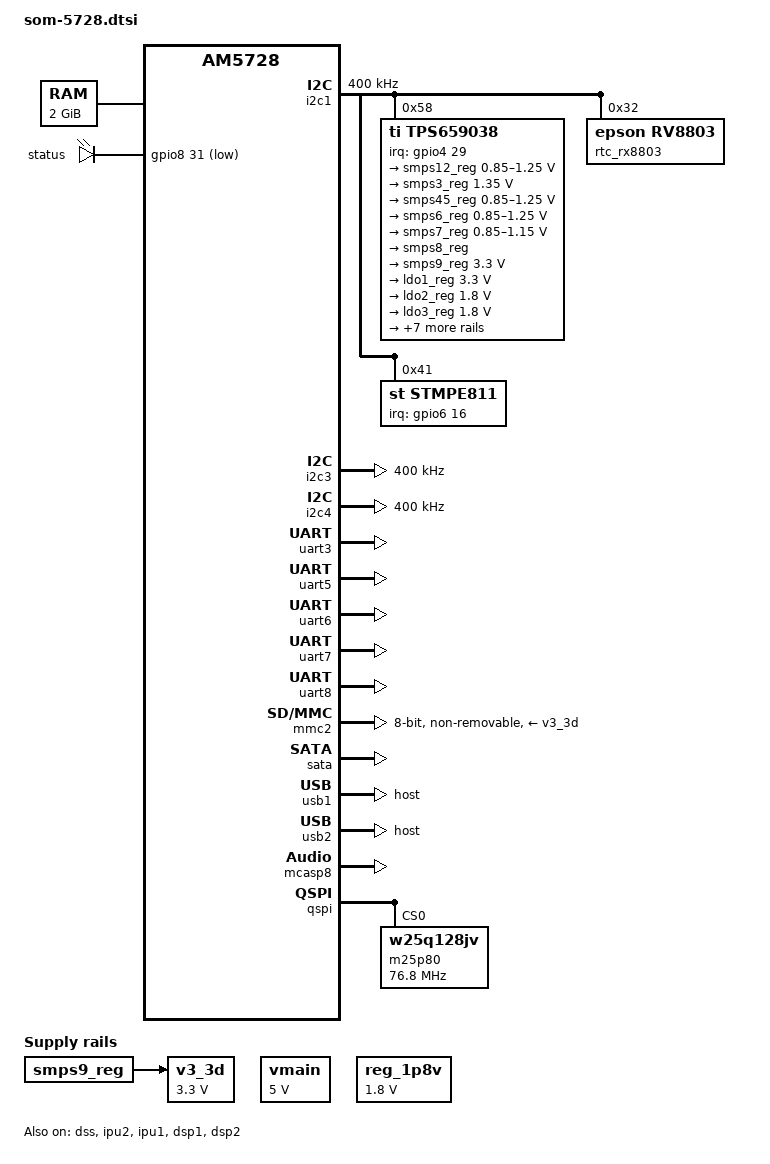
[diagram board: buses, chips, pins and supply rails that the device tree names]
/*
 * Copyright (C) 2014-2016 Texas Instruments Incorporated - http://www.ti.com/
 *
 * This program is free software; you can redistribute it and/or modify
 * it under the terms of the GNU General Public License version 2 as
 * published by the Free Software Foundation.
 */
/dts-v1/;

#include "dra74x.dtsi"
#include "am57xx-commercial-grade.dtsi"
#include "am57-pruss.dtsi"
#include "dra74x-mmc-iodelay.dtsi"
#include <dt-bindings/gpio/gpio.h>
#include <dt-bindings/interrupt-controller/irq.h>

/ {
	compatible = "emac,som5728", "ti,am5728", "ti,dra7";

	aliases {
		rtc0 = &rtc_rx8803;
		rtc1 = &tps659038_rtc;
		rtc2 = &rtc;
        spi0 = &qspi;
        spi1 = &mcspi1;
        spi2 = &mcspi2;
        spi3 = &mcspi3;
        spi4 = &mcspi4;
	};

	chosen {
		stdout-path = &uart3;
	};

	memory@0 {
		device_type = "memory";
		reg = <0x0 0x80000000 0x0 0x80000000>;
	};
	
	reserved-memory {
		#address-cells = <2>;
		#size-cells = <2>;
		ranges;

		ipu2_memory_region: ipu2-memory@95800000 {
			compatible = "shared-dma-pool";
			reg = <0x0 0x95800000 0x0 0x3800000>;
			reusable;
			status = "okay";
		};

		dsp1_memory_region: dsp1-memory@99000000 {
			compatible = "shared-dma-pool";
			reg = <0x0 0x99000000 0x0 0x4000000>;
			reusable;
			status = "okay";
		};

		ipu1_memory_region: ipu1-memory@9d000000 {
			compatible = "shared-dma-pool";
			reg = <0x0 0x9d000000 0x0 0x2000000>;
			reusable;
			status = "okay";
		};

		dsp2_memory_region: dsp2-memory@9f000000 {
			compatible = "shared-dma-pool";
			reg = <0x0 0x9f000000 0x0 0x800000>;
			reusable;
			status = "okay";
		};
	};

	vmain: fixedregulator-vmain {
		compatible = "regulator-fixed";
		regulator-name = "VMAIN";
		regulator-min-microvolt = <5000000>;
		regulator-max-microvolt = <5000000>;
		regulator-always-on;
		regulator-boot-on;
	};

	v3_3d: fixedregulator-v3_3d {
		compatible = "regulator-fixed";
		regulator-name = "V3_3D";
		vin-supply = <&smps9_reg>;
		regulator-min-microvolt = <3300000>;
		regulator-max-microvolt = <3300000>;
		regulator-always-on;
		regulator-boot-on;
	};
	
	reg_1p8v: fixedregulator-reg_1p8v {
		compatible = "regulator-fixed";
		regulator-name = "1P8V";
		regulator-min-microvolt = <1800000>;
		regulator-max-microvolt = <1800000>;
		regulator-always-on;
	};
	

	leds {
		compatible = "gpio-leds";

		led0 {
			label = "status";
			gpios = <&gpio8 31 GPIO_ACTIVE_LOW>;
			//default-state = "on";
			linux,default-trigger = "heartbeat";
		};
	};
    
    
    
};

&dra7_pmx_core {
	uart3_pins_default: uart3_pins_default {
		pinctrl-single,pins = <
			DRA7XX_CORE_IOPAD(0x3648, PIN_INPUT_SLEW | MUX_MODE0)	/* uart3_rxd */
			DRA7XX_CORE_IOPAD(0x364c, PIN_INPUT_SLEW | MUX_MODE0)	/* uart3_txd */
		>;
	};

	usb1_pins: pinmux_usb1_pins {
		pinctrl-single,pins = <
			DRA7XX_CORE_IOPAD(0x3680, PIN_INPUT_SLEW | MUX_MODE0) /* usb1_drvvbus */
		>;
	};

	i2c5_pins_default: i2c5_pins_default {
		pinctrl-single,pins = <
			DRA7XX_CORE_IOPAD(0x36b4, PIN_INPUT| MUX_MODE10)	/* mcasp1_axr0.i2c5_sda */
			DRA7XX_CORE_IOPAD(0x36b8, PIN_INPUT| MUX_MODE10)	/* mcasp1_axr1.i2c5_scl */
		>;
	};

	//lcd_pins_default: lcd_pins_default {
	//	pinctrl-single,pins = <
	//		DRA7XX_CORE_IOPAD(0x3564, PIN_OUTPUT | MUX_MODE14)      /* vin2a_vsync0.gpio4_0 */
	//	>;
	//};
	
	hdmi_pins: pinmux_hdmi_pins {
		pinctrl-single,pins = <
			DRA7XX_CORE_IOPAD(0x3808, PIN_INPUT | MUX_MODE1)	/* i2c2_sda.hdmi1_ddc_scl */
			DRA7XX_CORE_IOPAD(0x380c, PIN_INPUT | MUX_MODE1)	/* i2c2_scl.hdmi1_ddc_sda */
		>;
	};

	hdmi_conn_pins: pinmux_hdmi_conn_pins {
		pinctrl-single,pins = <
			DRA7XX_CORE_IOPAD(0x37b8, PIN_INPUT | MUX_MODE14)	/* spi1_cs2.gpio7_12 */
		>;
	};
};


// 5228 disabled ?  
&dcan2 {
	status = "disabled";
};


&i2c1 {
	status = "okay";
	clock-frequency = <400000>;

	tps659038: tps659038@58 {
		compatible = "ti,tps659038";
		reg = <0x58>;
		interrupt-parent = <&gpio4>;
		interrupts = <29 IRQ_TYPE_LEVEL_LOW>;
		//interrupts-extended = <&gpio4 29 IRQ_TYPE_LEVEL_HIGH
		//	       &dra7_pmx_core 0x418>;
		#interrupt-cells = <2>;
		interrupt-controller;

		ti,system-power-controller;
		ti,palmas-override-powerhold;

		tps659038_pmic {
			compatible = "ti,tps659038-pmic";
			
			smps12-in-supply = <&vmain>;
			smps3-in-supply = <&vmain>;
			smps45-in-supply = <&vmain>;
			smps6-in-supply = <&vmain>;
			smps7-in-supply = <&vmain>;
			smps8-in-supply = <&vmain>;
			smps9-in-supply = <&vmain>;
			ldo1-in-supply = <&vmain>;
			ldo2-in-supply = <&vmain>;
			ldo3-in-supply = <&vmain>;
			ldo4-in-supply = <&vmain>;
			ldo9-in-supply = <&vmain>;
			ldoln-in-supply = <&vmain>;
			ldousb-in-supply = <&vmain>;
			ldortc-in-supply = <&vmain>;

			regulators {
				smps12_reg: smps12 {
					/* VDD_MPU */
					regulator-name = "smps12";
					regulator-min-microvolt = < 850000>;
					regulator-max-microvolt = <1250000>;
					regulator-always-on;
					regulator-boot-on;
				};

				smps3_reg: smps3 {
					/* VDD_DDR */
					regulator-name = "smps3";
					regulator-min-microvolt = <1350000>;
					regulator-max-microvolt = <1350000>;
					regulator-always-on;
					regulator-boot-on;
				};

				smps45_reg: smps45 {
					/* VDD_DSPEVE */
					regulator-name = "smps45";
					regulator-min-microvolt = < 850000>;
					regulator-max-microvolt = <1250000>;
					regulator-always-on;
					regulator-boot-on;
				};

				smps6_reg: smps6 {
					/* VDD_GPU */
					regulator-name = "smps6";
					regulator-min-microvolt = <850000>;
					regulator-max-microvolt = <1250000>;
					regulator-always-on;
					regulator-boot-on;
				};

				/* SMPS7 unused */
				smps7_reg: smps7 {
					/* VDD_CORE */
					regulator-name = "smps7";
					regulator-min-microvolt = <850000>;
					regulator-max-microvolt = <1150000>;
					regulator-always-on;
					regulator-boot-on;
				};

				smps8_reg: smps8 {
					/* VDD_IVA */
					regulator-name = "smps8";
					//regulator-min-microvolt = <1800000>;
					//regulator-max-microvolt = <1800000>;
					//regulator-always-on;
					//regulator-boot-on;
				};

				/* SMPS9 unused */
				smps9_reg: smps9 {
					/* VDD_3V3 */
					regulator-name = "smps9";
					regulator-min-microvolt = <3300000>;
					regulator-max-microvolt = <3300000>;
					regulator-always-on;
					regulator-boot-on;
				};

				ldo1_reg: ldo1 {
					/* VDD_SD / VDDSHV8  */
					regulator-name = "ldo1";
					regulator-min-microvolt = <3300000>;
					regulator-max-microvolt = <3300000>;
					regulator-boot-on;
					regulator-always-on;
				};

				ldo2_reg: ldo2 {
					/* VDD_SHV5 */
					regulator-name = "ldo2";
					regulator-min-microvolt = <1800000>;
					regulator-max-microvolt = <1800000>;
					regulator-always-on;
					regulator-boot-on;
				};

				ldo3_reg: ldo3 {
					/* VDDA_1V8_PHYA */
					regulator-name = "ldo3";
					regulator-min-microvolt = <1800000>;
					regulator-max-microvolt = <1800000>;
					regulator-always-on;
					regulator-boot-on;
				};

				ldo4_reg: ldo4 {
					/* VDDA_1V8_PHYB */
					regulator-name = "ldo4";
					regulator-min-microvolt = <1800000>;
					regulator-max-microvolt = <1800000>;
					regulator-always-on;
					regulator-boot-on;
				};

				ldo9_reg: ldo9 {
					/* VDD_RTC */
					regulator-name = "ldo9";
					regulator-min-microvolt = <840000>;
					regulator-max-microvolt = <1160000>;
					regulator-always-on;
					regulator-boot-on;
				};

				ldoln_reg: ldoln {
					/* VDDA_1V8_PLL */
					regulator-name = "ldoln";
					regulator-min-microvolt = <1800000>;
					regulator-max-microvolt = <1800000>;
					regulator-always-on;
					regulator-boot-on;
				};

				ldousb_reg: ldousb {
					/* VDDA_3V_USB: VDDA_USBHS33 */
					regulator-name = "ldousb";
					regulator-min-microvolt = <3300000>;
					regulator-max-microvolt = <3300000>;
					regulator-boot-on;
				};
				
				ldortc_reg: ldortc {
					/* VDDA_RTC  */
					regulator-name = "ldortc";
					regulator-min-microvolt = <1800000>;
					regulator-max-microvolt = <1800000>;
					regulator-always-on;
					regulator-boot-on;
				};

				regen1: regen1 {
					/* VDD_3V3_ON */
					regulator-name = "regen1";
					regulator-boot-on;
					regulator-always-on;
				};
				
				regen2: regen2 {
					/* Needed for PMIC internal resource */
					regulator-name = "regen2";
					regulator-boot-on;
					regulator-always-on;
				};
			};
		};

		tps659038_rtc: tps659038_rtc {
			compatible = "ti,palmas-rtc";
			interrupt-parent = <&tps659038>;
			interrupts = <8 IRQ_TYPE_EDGE_FALLING>;
			wakeup-source;
		};

		tps659038_pwr_button: tps659038_pwr_button {
			compatible = "ti,palmas-pwrbutton";
			interrupt-parent = <&tps659038>;
			interrupts = <1 IRQ_TYPE_EDGE_FALLING>;
			wakeup-source;
			ti,palmas-long-press-seconds = <12>;
		};

		/*tps659038_gpio: tps659038_gpio {
			compatible = "ti,palmas-gpio";
			gpio-controller;
			#gpio-cells = <2>;
		};*/

		/*extcon_usb2: tps659038_usb {
			compatible = "ti,palmas-usb-vid";
			ti,enable-vbus-detection;
			vbus-gpio = <&gpio4 21 GPIO_ACTIVE_HIGH>;
		};*/

	};

	rtc_rx8803: rtc@32 {
		compatible = "epson,rv8803";
		reg = <0x32>;
	};
	
	stmpe811@41 {
		compatible = "st,stmpe811";
		//pinctrl-names = "default";
		//pinctrl-0 = <&pinctrl_touch_int>;
		reg = <0x41>;
		irq-gpio = <&gpio6 16 IRQ_TYPE_LEVEL_LOW>;
		//interrupts = <16 IRQ_TYPE_LEVEL_LOW>;
		//interrupt-parent = <&gpio6>;
		interrupt-controller;
		id = <0>;
		blocks = <0x5>;
		irq-trigger = <0x1>;

		stmpe_adc {
			compatible = "st,stmpe-adc";
			st,norequest-mask = <0xF0>; /* mask any channels to be used by touchscreen */
			/*adc0: iio-device@0 {
				#io-channel-cells = <1>;
				iio-channels = <&adc0 4>, <&adc0 1>, <&adc0 2>, <&adc0 3>, <&adc0 4>, <&adc0 5>, <&adc0 6>;
				iio-channel-names = "AIN0_P9_39", "AIN1_P9_40", "AIN2_P9_37", "AIN3_P9_38",
					"AIN4_P9_33", "AIN5_P9_36", "AIN6_P9_35";
			};*/
		};

		stmpe_touchscreen {
			compatible = "st,stmpe-ts";
			/* 3.25 MHz ADC clock speed */
			st,adc-freq = <2>;
			/* 4 sample average control */
			st,ave-ctrl = <2>;
			/* 7 length fractional part in z */
			st,fraction-z = <7>;
			/*
			 * 50 mA typical 80 mA max touchscreen drivers
			 * current limit value
			 */
			st,i-drive = <1>;
			/* 12-bit ADC */
			st,mod-12b = <1>;
			/* internal ADC reference */
			st,ref-sel = <0>;
			/* ADC converstion time: 80 clocks */
			st,sample-time = <3>;
			/* 1 ms panel driver settling time */
			st,settling = <1>;
			/* 5 ms touch detect interrupt delay */
			st,touch-det-delay = <1>;
		};
	};

/*	tlv320aic3104: tlv320aic3104@18 {
		#sound-dai-cells = <0>;
		compatible = "ti,tlv320aic3104";
		reg = <0x18>;
		assigned-clocks = <&clkoutmux2_clk_mux>;
		assigned-clock-parents = <&sys_clk2_dclk_div>;

		status = "okay";
		adc-settle-ms = <40>;

		AVDD-supply = <&vdd_3v3>;
		IOVDD-supply = <&vdd_3v3>;
		DRVDD-supply = <&vdd_3v3>;
		DVDD-supply = <&aic_dvdd>;
	};

	eeprom: eeprom@50 {
		compatible = "atmel,24c32";
		reg = <0x50>;
	};*/
};

&i2c3 {
	status = "okay";
	clock-frequency = <400000>;

	/*mcp_rtc: rtc@6f {
		compatible = "microchip,mcp7941x";
		reg = <0x6f>;
		interrupts-extended = <&crossbar_mpu GIC_SPI 2 IRQ_TYPE_EDGE_RISING>,
				      <&dra7_pmx_core 0x424>;
		interrupt-names = "irq", "wakeup";

		vcc-supply = <&vdd_3v3>;
		wakeup-source;
	};*/
};

&i2c4 {
	status = "okay";
	clock-frequency = <400000>;
};

&gpio7 {
	ti,no-reset-on-init;
	ti,no-idle-on-init;
};

&cpu0 {
	vdd-supply = <&smps12_reg>;
	voltage-tolerance = <1>;
};

&uart1 {
	status = "disabled";
};

&uart2 {
	status = "disabled";
};

// conole
&uart3 {
	status = "okay";
	interrupts-extended = <&crossbar_mpu GIC_SPI 69 IRQ_TYPE_LEVEL_HIGH>,
			      <&dra7_pmx_core 0x3f8>;
};

&uart5 {
	status = "okay";
};

&uart6 {
	status = "okay";
};

&uart7 {
	status = "okay";
};

&uart8 {
	status = "okay";
};


&mmc2 {
	status = "okay";

	pinctrl-names = "default";
	pinctrl-0 = <&mmc2_pins_hs200>;

	vmmc-supply = <&v3_3d>;
	vqmmc-supply = <&v3_3d>;
	bus-width = <8>;
	non-removable;
	max-frequency = <96000000>;
};

&sata {
	status = "okay";
};

&usb2_phy1 {
	phy-supply = <&ldousb_reg>;
};

&usb2_phy2 {
	phy-supply = <&ldousb_reg>;
};

&usb1 {
	dr_mode = "host";
};

//&omap_dwc3_2 {
//	extcon = <&extcon_usb2>;
//};

&usb2 {
	/*
	 * Stand alone usage is peripheral only.
	 * However, with some resistor modifications
	 * this port can be used via expansion connectors
	 * as "host" or "dual-role". If so, provide
	 * the necessary dr_mode override in the expansion
	 * board's DT.
	 */
	dr_mode = "host";
};

&cpu_trips {
	cpu_alert1: cpu_alert1 {
		temperature = <50000>; /* millicelsius */
		hysteresis = <2000>; /* millicelsius */
		type = "active";
	};
};

/*&cpu_cooling_maps {
	map1 {
		trip = <&cpu_alert1>;
		cooling-device = <&gpio_fan THERMAL_NO_LIMIT THERMAL_NO_LIMIT>;
	};
};*/

&dss {
	status = "ok";

	vdda_video-supply = <&ldoln_reg>;
};

&mcasp8 {
	#sound-dai-cells = <0>;
	assigned-clocks = <&l4per_clkctrl DRA7_MCASP8_CLKCTRL 24>;
	assigned-clock-parents = <&sys_clkin2>;
	status = "okay";

	op-mode = <0>;	/* MCASP_IIS_MODE */
	tdm-slots = <2>;
	/* 4 serializers */
	serial-dir = <	/* 0: INACTIVE, 1: TX, 2: RX */
		1 2 0 0
	>;
	tx-num-evt = <32>;
	rx-num-evt = <32>;
};

#if 0 
&mailbox5 {
	status = "okay";
	mbox_ipu1_ipc3x: mbox_ipu1_ipc3x {
		status = "okay";
	};
	mbox_dsp1_ipc3x: mbox_dsp1_ipc3x {
		status = "okay";
	};
};

&mailbox6 {
	status = "okay";
	mbox_ipu2_ipc3x: mbox_ipu2_ipc3x {
		status = "okay";
	};
	mbox_dsp2_ipc3x: mbox_dsp2_ipc3x {
		status = "okay";
	};
};
#endif 
&qspi {
	status = "okay";
	spi-max-frequency = <76800000>;
	m25p80@0 {
		compatible = "w25q128jv", "jedec,spi-nor";
		spi-max-frequency = <76800000>;
		reg = <0>;
		spi-tx-bus-width = <1>;
		spi-rx-bus-width = <4>;
		#address-cells = <1>;
		#size-cells = <1>;
	};
};

#if 0 
&mcspi1 {
    compatible = "ti,omap4-mcspi";
    reg = <0x48098000 0x200>;
    interrupts = <GIC_SPI 60 IRQ_TYPE_LEVEL_HIGH>;
    #address-cells = <1>;
    #size-cells = <0>;
    ti,hwmods = "mcspi1";
    ti,spi-num-cs = <4>;
    dmas = <&sdma_xbar 35>,
            <&sdma_xbar 36>,
            <&sdma_xbar 37>,
            <&sdma_xbar 38>,
            <&sdma_xbar 39>,
            <&sdma_xbar 40>,
            <&sdma_xbar 41>,
            <&sdma_xbar 42>;
    dma-names = "tx0", "rx0", "tx1", "rx1",
            "tx2", "rx2", "tx3", "rx3";
    status = "disabled";
};

&mcspi2 {
    compatible = "ti,omap4-mcspi";
    reg = <0x4809a000 0x200>;
    interrupts = <GIC_SPI 61 IRQ_TYPE_LEVEL_HIGH>;
    #address-cells = <1>;
    #size-cells = <0>;
    ti,hwmods = "mcspi2";
    ti,spi-num-cs = <2>;
    dmas = <&sdma_xbar 43>,
            <&sdma_xbar 44>,
            <&sdma_xbar 45>,
            <&sdma_xbar 46>;
    dma-names = "tx0", "rx0", "tx1", "rx1";
    status = "disabled";
};

&mcspi3 {
    compatible = "ti,omap4-mcspi";
    reg = <0x480b8000 0x200>;
    interrupts = <GIC_SPI 86 IRQ_TYPE_LEVEL_HIGH>;
    #address-cells = <1>;
    #size-cells = <0>;
    ti,hwmods = "mcspi3";
    ti,spi-num-cs = <2>;
    dmas = <&sdma_xbar 15>, <&sdma_xbar 16>;
    dma-names = "tx0", "rx0";
    status = "disabled";
};

&mcspi4 {
    compatible = "ti,omap4-mcspi";
    reg = <0x480ba000 0x200>;
    interrupts = <GIC_SPI 43 IRQ_TYPE_LEVEL_HIGH>;
    #address-cells = <1>;
    #size-cells = <0>;
    ti,hwmods = "mcspi4";
    ti,spi-num-cs = <1>;
    dmas = <&sdma_xbar 70>, <&sdma_xbar 71>;
    dma-names = "tx0", "rx0";
    status = "disabled";
};
#endif

&cpu0 {
	vdd-supply = <&smps12_reg>;
};

&ipu2 {
	status = "okay";
	memory-region = <&ipu2_memory_region>;
};

&ipu1 {
	status = "okay";
	memory-region = <&ipu1_memory_region>;
};

&dsp1 {
	status = "okay";
	memory-region = <&dsp1_memory_region>;
};

&dsp2 {
	status = "okay";
	memory-region = <&dsp2_memory_region>;
};
